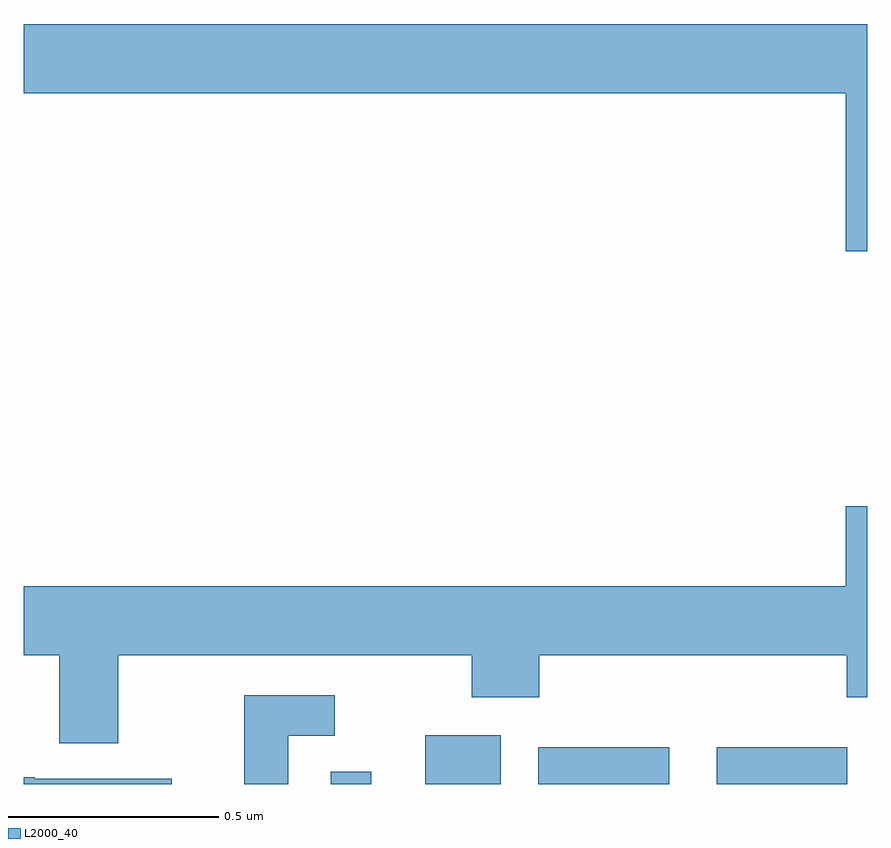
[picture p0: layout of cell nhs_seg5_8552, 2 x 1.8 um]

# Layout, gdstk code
import gdstk
lib = gdstk.Library(unit=1e-6, precision=1e-09)
def R(c, l, rs):  # rectangles x0, y0, x1, y1
    for r in rs: c.add(gdstk.rectangle(r[:2], r[2:], *l))
def P(c, l, *ps):  # polygons
    for p in ps: c.add(gdstk.Polygon(p, *l))
L2000_40 = (2000, 40)

nhs_seg5_8552 = lib.new_cell('nhs_seg5_8552')
R(nhs_seg5_8552, L2000_40, [(223.728,845.799,223.824,845.828), (223.952,845.799,224.131,845.914), (224.22,845.799,224.53,845.886), (224.643,845.799,224.952,845.886)])
P(nhs_seg5_8552, L2000_40, [(225,847.6),(223,847.6),(223,847.436),(224.948,847.436),(224.948,847.062),(225,847.062)],
  [(223.225,846.104),(224.062,846.104),(224.062,846.005),(224.222,846.005),(224.222,846.104),(224.951,846.104),(224.951,846.005),(225,846.005),(225,846.457),(224.948,846.457),(224.948,846.268),(223,846.268),(223,846.104),(223.085,846.104),(223.085,845.896),(223.225,845.896)],
  [(223.627,845.913),(223.738,845.913),(223.738,846.009),(223.523,846.009),(223.523,845.799),(223.627,845.799)],
  [(223.351,845.811),(223.027,845.811),(223.027,845.815),(223,845.815),(223,845.799),(223.351,845.799)])

lib.write_gds('nhs_seg5_8552.gds')
